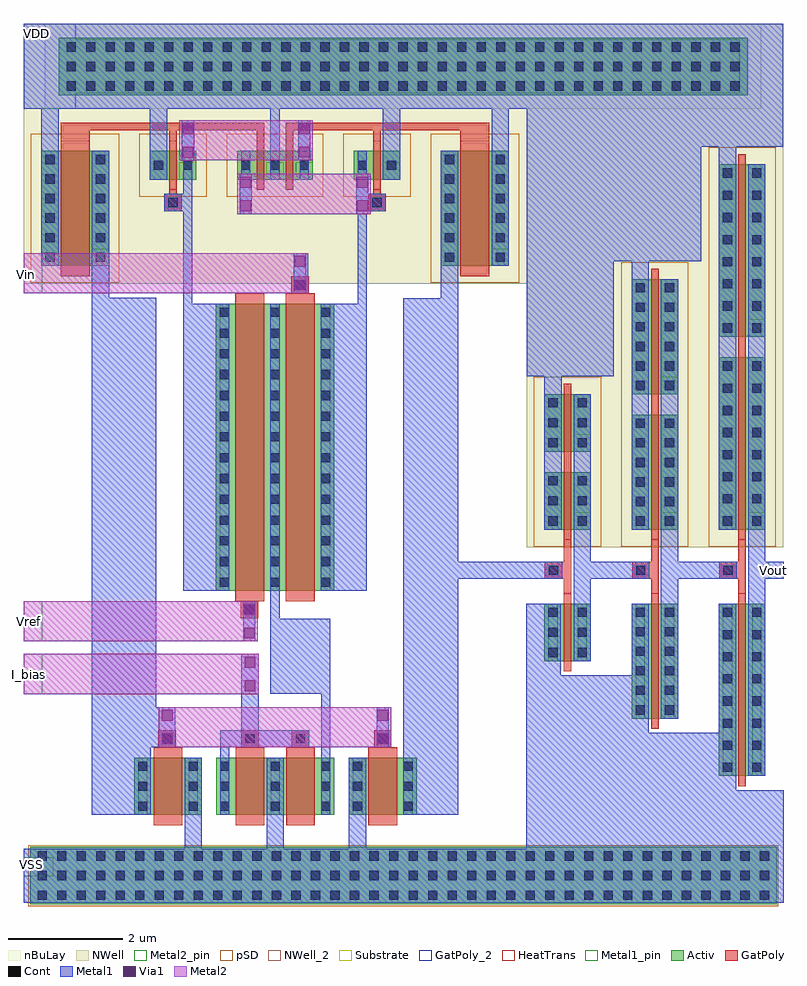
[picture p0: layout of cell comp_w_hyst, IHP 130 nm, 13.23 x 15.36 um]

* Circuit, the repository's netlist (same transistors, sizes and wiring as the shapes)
** sch_path: /home/designer/shared/designs/SSDOR_1.2V_v3/components/comp_w_hyst/comp_w_hyst.sch
.subckt comp_w_hyst VDD VSS Vref Vin Vout I_bias
*.PININFO I_bias:I Vref:I Vin:I VSS:B VDD:B Vout:O
MM3 net1 net1 VDD well sg13_lv_pmos w=0.5u l=0.13u ng=1 m=1
MM6 net2 net1 VDD well sg13_lv_pmos w=0.5u l=0.13u ng=1 m=1
MM7 net1 net2 VDD well sg13_lv_pmos w=0.5u l=0.13u ng=1 m=1
MM4 net2 net2 VDD well sg13_lv_pmos w=0.5u l=0.13u ng=1 m=1
MM1 net1 Vref net5 VSS sg13_lv_nmos w=5u l=0.5u ng=1 m=1
MM2 net2 Vin net5 VSS sg13_lv_nmos w=5u l=0.5u ng=1 m=1
MM5 net5 I_bias VSS VSS sg13_lv_nmos w=1u l=0.5u ng=1 m=1
MM9 net4 net1 VDD well sg13_lv_pmos w=2u l=0.5u ng=1 m=1
MM8 net3 net2 VDD well sg13_lv_pmos w=2u l=0.5u ng=1 m=1
MM11 net3 net4 VSS VSS sg13_lv_nmos w=1u l=0.5u ng=1 m=1
MM10 net4 net4 VSS VSS sg13_lv_nmos w=1u l=0.5u ng=1 m=1
MM12 I_bias I_bias VSS VSS sg13_lv_nmos w=1u l=0.5u ng=1 m=1
MM13 net6 net3 VSS VSS sg13_lv_nmos w=1u l=0.13u ng=1 m=1
MM14 net6 net3 VDD well sg13_lv_pmos w=1u l=0.13u ng=1 m=2
RR1 VDD well ntap1 A=1.2e-11 P=2.6e-05
MM15 net7 net6 VSS VSS sg13_lv_nmos w=2u l=0.13u ng=1 m=1
MM16 net7 net6 VDD well sg13_lv_pmos w=2u l=0.13u ng=1 m=2
MM17 Vout net7 VSS VSS sg13_lv_nmos w=3u l=0.13u ng=1 m=1
MM18 Vout net7 VDD well sg13_lv_pmos w=3u l=0.13u ng=1 m=2
.ends

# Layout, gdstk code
import gdstk
lib = gdstk.Library(unit=1e-6, precision=5e-09)
def R(c, l, rs):  # rectangles x0, y0, x1, y1
    for r in rs: c.add(gdstk.rectangle(r[:2], r[2:], *l))
def A(c, l, x, y, w, h, nx, ny, dx, dy):  # array of equal rectangles
    R(c, l, [(x+i*dx, y+j*dy, x+i*dx+w, y+j*dy+h) for i in range(nx) for j in range(ny)])
def P(c, l, *ps):  # polygons
    for p in ps: c.add(gdstk.Polygon(p, *l))
Activ = (1, 0)
GatPoly = (5, 0)
GatPoly_2 = (5, 2)
Cont = (6, 0)
Metal1 = (8, 0)
Metal1_pin = (8, 2)
Metal2 = (10, 0)
Metal2_pin = (10, 2)
pSD = (14, 0)
Via1 = (19, 0)
NWell = (31, 0)
NWell_2 = (31, 2)
nBuLay = (32, 0)
Substrate = (40, 0)
HeatTrans = (51, 0)

pmos_1 = lib.new_cell('pmos$1')
R(pmos_1, Activ, [(0,0,0.3,0.3), (0,0,0.81,0.5), (0.51,0,0.81,0.3)])
R(pmos_1, GatPoly, [(0.34,-0.18,0.47,0.68), (0.34,-0.18,0.47,0.68)])
R(pmos_1, Cont, [(0.07,0.17,0.23,0.33), (0.58,0.17,0.74,0.33)])
R(pmos_1, Metal1, [(0.07,0,0.23,0.5), (0.07,0,0.23,0.5), (0.58,0,0.74,0.5), (0.58,0,0.74,0.5)])
R(pmos_1, pSD, [(-0.18,-0.3,0.99,0.8)])
R(pmos_1, NWell, [(-0.31,-0.31,1.12,0.81)])
R(pmos_1, Substrate, [(0.51,0,0.81,0.3)])
R(pmos_1, HeatTrans, [(0.34,-0.18,0.47,0.68)])
pmos_1.add(gdstk.Label('pmos', (0.405,0.25), layer=63, texttype=0))
pmos_1.add(gdstk.Label('pmos', (0.405,0.25), layer=51, texttype=0))

pmos_3 = lib.new_cell('pmos$3')
R(pmos_3, Activ, [(0,0,0.3,0.3), (0,0,1.18,2), (0.88,0,1.18,0.3)])
R(pmos_3, GatPoly, [(0.34,-0.18,0.84,2.18), (0.34,-0.18,0.84,2.18)])
A(pmos_3, Cont, 0.07, 0.07, 0.16, 0.16, 1, 6, 0, 0.34)
A(pmos_3, Cont, 0.95, 0.07, 0.16, 0.16, 1, 6, 0, 0.34)
R(pmos_3, Metal1, [(0.07,0,0.23,2), (0.07,0,0.23,2), (0.95,0,1.11,2), (0.95,0,1.11,2)])
R(pmos_3, pSD, [(-0.18,-0.3,1.36,2.3)])
R(pmos_3, NWell, [(-0.31,-0.31,1.49,2.31)])
R(pmos_3, Substrate, [(0.88,0,1.18,0.3)])
R(pmos_3, HeatTrans, [(0.34,-0.18,0.84,2.18)])
pmos_3.add(gdstk.Label('pmos', (0.59,1), layer=63, texttype=0))
pmos_3.add(gdstk.Label('pmos', (0.59,1), layer=51, texttype=0))

via_stack = lib.new_cell('via_stack')
R(via_stack, Metal1, [(-0.105,-0.35,0.105,0.35)])
R(via_stack, Metal2, [(-0.1,-0.35,0.1,0.35)])
R(via_stack, Via1, [(-0.095,-0.3,0.095,-0.11), (-0.095,0.11,0.095,0.3)])

ntap1_1 = lib.new_cell('ntap1$1')
R(ntap1_1, Activ, [(0,0,12,1)])
A(ntap1_1, Cont, 0.14, 0.08, 0.16, 0.16, 35, 3, 0.34, 0.34)
R(ntap1_1, Metal1, [(0.14,0.03,11.86,0.97)])
R(ntap1_1, Metal1_pin, [(0.14,0.03,11.86,0.97), (0.14,0.08,11.86,0.92)])
R(ntap1_1, NWell, [(-0.24,-0.24,12.24,1.24), (0,0,12,1)])
R(ntap1_1, NWell_2, [(0,0,12,1)])
R(ntap1_1, nBuLay, [(-0.24,-0.24,12.24,1.24)])
ntap1_1.add(gdstk.Label('well', (6,0.01), layer=31, texttype=0))
ntap1_1.add(gdstk.Label('well', (6,0.01), layer=63, texttype=0))

nmos_5 = lib.new_cell('nmos$5')
R(nmos_5, Activ, [(0,0,0.3,0.3), (0,0,0.81,1), (0.51,0,0.81,0.3)])
R(nmos_5, GatPoly, [(0.34,-0.18,0.47,1.18)])
R(nmos_5, GatPoly_2, [(0.34,-0.18,0.47,1.18)])
A(nmos_5, Cont, 0.07, 0.07, 0.16, 0.16, 1, 3, 0, 0.35)
A(nmos_5, Cont, 0.58, 0.07, 0.16, 0.16, 1, 3, 0, 0.35)
R(nmos_5, Metal1, [(0.07,0,0.23,1), (0.58,0,0.74,1)])
R(nmos_5, Metal1_pin, [(0.07,0,0.23,1), (0.58,0,0.74,1)])
R(nmos_5, HeatTrans, [(0.34,-0.18,0.47,1.18)])
nmos_5.add(gdstk.Label('nmos', (0.405,0.5), layer=63, texttype=0))
nmos_5.add(gdstk.Label('nmos', (0.405,0.5), layer=51, texttype=0))

nmos_4 = lib.new_cell('nmos$4')
R(nmos_4, Activ, [(0,0,0.3,0.3), (0,0,0.81,2), (0.51,0,0.81,0.3)])
R(nmos_4, GatPoly, [(0.34,-0.18,0.47,2.18)])
R(nmos_4, GatPoly_2, [(0.34,-0.18,0.47,2.18)])
A(nmos_4, Cont, 0.07, 0.07, 0.16, 0.16, 1, 6, 0, 0.34)
A(nmos_4, Cont, 0.58, 0.07, 0.16, 0.16, 1, 6, 0, 0.34)
R(nmos_4, Metal1, [(0.07,0,0.23,2), (0.58,0,0.74,2)])
R(nmos_4, Metal1_pin, [(0.07,0,0.23,2), (0.58,0,0.74,2)])
R(nmos_4, HeatTrans, [(0.34,-0.18,0.47,2.18)])
nmos_4.add(gdstk.Label('nmos', (0.405,1), layer=63, texttype=0))
nmos_4.add(gdstk.Label('nmos', (0.405,1), layer=51, texttype=0))

nmos_2 = lib.new_cell('nmos$2')
R(nmos_2, Activ, [(0,0,0.3,0.3), (0,0,1.18,1), (0.88,0,1.18,0.3)])
R(nmos_2, GatPoly, [(0.34,-0.18,0.84,1.18)])
R(nmos_2, GatPoly_2, [(0.34,-0.18,0.84,1.18)])
A(nmos_2, Cont, 0.07, 0.07, 0.16, 0.16, 1, 3, 0, 0.35)
A(nmos_2, Cont, 0.95, 0.07, 0.16, 0.16, 1, 3, 0, 0.35)
R(nmos_2, Metal1, [(0.07,0,0.23,1), (0.95,0,1.11,1)])
R(nmos_2, Metal1_pin, [(0.07,0,0.23,1), (0.95,0,1.11,1)])
R(nmos_2, HeatTrans, [(0.34,-0.18,0.84,1.18)])
nmos_2.add(gdstk.Label('nmos', (0.59,0.5), layer=63, texttype=0))
nmos_2.add(gdstk.Label('nmos', (0.59,0.5), layer=51, texttype=0))

nmos_3 = lib.new_cell('nmos$3')
R(nmos_3, Activ, [(0,0,0.3,0.3), (0,0,0.81,3), (0.51,0,0.81,0.3)])
R(nmos_3, GatPoly, [(0.34,-0.18,0.47,3.18)])
R(nmos_3, GatPoly_2, [(0.34,-0.18,0.47,3.18)])
A(nmos_3, Cont, 0.07, 0.07, 0.16, 0.16, 1, 7, 0, 0.385)
A(nmos_3, Cont, 0.58, 0.07, 0.16, 0.16, 1, 7, 0, 0.385)
R(nmos_3, Cont, [(0.07,2.77,0.23,2.93), (0.58,2.77,0.74,2.93)])
R(nmos_3, Metal1, [(0.07,0,0.23,3), (0.58,0,0.74,3)])
R(nmos_3, Metal1_pin, [(0.07,0,0.23,3), (0.58,0,0.74,3)])
R(nmos_3, HeatTrans, [(0.34,-0.18,0.47,3.18)])
nmos_3.add(gdstk.Label('nmos', (0.405,1.5), layer=63, texttype=0))
nmos_3.add(gdstk.Label('nmos', (0.405,1.5), layer=51, texttype=0))

nmos_1 = lib.new_cell('nmos$1')
R(nmos_1, Activ, [(0,0,0.3,0.3), (0,0,1.18,5), (0.88,0,1.18,0.3)])
R(nmos_1, GatPoly, [(0.34,-0.18,0.84,5.18)])
R(nmos_1, GatPoly_2, [(0.34,-0.18,0.84,5.18)])
A(nmos_1, Cont, 0.07, 0.07, 0.16, 0.16, 1, 4, 0, 0.36)
A(nmos_1, Cont, 0.95, 0.07, 0.16, 0.16, 1, 4, 0, 0.36)
A(nmos_1, Cont, 0.07, 1.515, 0.16, 0.16, 1, 3, 0, 0.36)
A(nmos_1, Cont, 0.95, 1.515, 0.16, 0.16, 1, 3, 0, 0.36)
A(nmos_1, Cont, 0.07, 2.6, 0.16, 0.16, 1, 3, 0, 0.36)
A(nmos_1, Cont, 0.95, 2.6, 0.16, 0.16, 1, 3, 0, 0.36)
A(nmos_1, Cont, 0.07, 3.685, 0.16, 0.16, 1, 3, 0, 0.36)
A(nmos_1, Cont, 0.95, 3.685, 0.16, 0.16, 1, 3, 0, 0.36)
R(nmos_1, Cont, [(0.07,4.77,0.23,4.93), (0.95,4.77,1.11,4.93)])
R(nmos_1, Metal1, [(0.07,0,0.23,5), (0.95,0,1.11,5)])
R(nmos_1, Metal1_pin, [(0.07,0,0.23,5), (0.95,0,1.11,5)])
R(nmos_1, HeatTrans, [(0.34,-0.18,0.84,5.18)])
nmos_1.add(gdstk.Label('nmos', (0.59,2.5), layer=63, texttype=0))
nmos_1.add(gdstk.Label('nmos', (0.59,2.5), layer=51, texttype=0))

pmos_7 = lib.new_cell('pmos$7')
R(pmos_7, Activ, [(0,0,0.3,0.3), (0,0,0.81,1), (0.51,0,0.81,0.3)])
R(pmos_7, GatPoly, [(0.34,-0.18,0.47,1.18), (0.34,-0.18,0.47,1.18)])
A(pmos_7, Cont, 0.07, 0.07, 0.16, 0.16, 1, 3, 0, 0.35)
A(pmos_7, Cont, 0.58, 0.07, 0.16, 0.16, 1, 3, 0, 0.35)
R(pmos_7, Metal1, [(0.07,0,0.23,1), (0.07,0,0.23,1), (0.58,0,0.74,1), (0.58,0,0.74,1)])
R(pmos_7, pSD, [(-0.18,-0.3,0.99,1.3)])
R(pmos_7, NWell, [(-0.31,-0.31,1.12,1.31)])
R(pmos_7, Substrate, [(0.51,0,0.81,0.3)])
R(pmos_7, HeatTrans, [(0.34,-0.18,0.47,1.18)])
pmos_7.add(gdstk.Label('pmos', (0.405,0.5), layer=63, texttype=0))
pmos_7.add(gdstk.Label('pmos', (0.405,0.5), layer=51, texttype=0))

pmos_2 = lib.new_cell('pmos$2')
R(pmos_2, Activ, [(0,0,0.3,0.3), (0,0,0.81,2), (0.51,0,0.81,0.3)])
R(pmos_2, GatPoly, [(0.34,-0.18,0.47,2.18), (0.34,-0.18,0.47,2.18)])
A(pmos_2, Cont, 0.07, 0.07, 0.16, 0.16, 1, 6, 0, 0.34)
A(pmos_2, Cont, 0.58, 0.07, 0.16, 0.16, 1, 6, 0, 0.34)
R(pmos_2, Metal1, [(0.07,0,0.23,2), (0.07,0,0.23,2), (0.58,0,0.74,2), (0.58,0,0.74,2)])
R(pmos_2, pSD, [(-0.18,-0.3,0.99,2.3)])
R(pmos_2, NWell, [(-0.31,-0.31,1.12,2.31)])
R(pmos_2, Substrate, [(0.51,0,0.81,0.3)])
R(pmos_2, HeatTrans, [(0.34,-0.18,0.47,2.18)])
pmos_2.add(gdstk.Label('pmos', (0.405,1), layer=63, texttype=0))
pmos_2.add(gdstk.Label('pmos', (0.405,1), layer=51, texttype=0))

pmos_4 = lib.new_cell('pmos$4')
R(pmos_4, Activ, [(0,0,0.3,0.3), (0,0,0.81,3), (0.51,0,0.81,0.3)])
R(pmos_4, GatPoly, [(0.34,-0.18,0.47,3.18), (0.34,-0.18,0.47,3.18)])
A(pmos_4, Cont, 0.07, 0.07, 0.16, 0.16, 1, 7, 0, 0.385)
A(pmos_4, Cont, 0.58, 0.07, 0.16, 0.16, 1, 7, 0, 0.385)
R(pmos_4, Cont, [(0.07,2.77,0.23,2.93), (0.58,2.77,0.74,2.93)])
R(pmos_4, Metal1, [(0.07,0,0.23,3), (0.07,0,0.23,3), (0.58,0,0.74,3), (0.58,0,0.74,3)])
R(pmos_4, pSD, [(-0.18,-0.3,0.99,3.3)])
R(pmos_4, NWell, [(-0.31,-0.31,1.12,3.31)])
R(pmos_4, Substrate, [(0.51,0,0.81,0.3)])
R(pmos_4, HeatTrans, [(0.34,-0.18,0.47,3.18)])
pmos_4.add(gdstk.Label('pmos', (0.405,1.5), layer=63, texttype=0))
pmos_4.add(gdstk.Label('pmos', (0.405,1.5), layer=51, texttype=0))

comp_w_hyst = lib.new_cell('comp_w_hyst')
R(comp_w_hyst, Activ, [(-4.465,-10.795,8.535,-9.795)])
A(comp_w_hyst, GatPoly, 4.5, -5.13, 0.46, 0.3, 3, 1, 1.52, 0)
R(comp_w_hyst, GatPoly, [(7.87,-8.74,8,2.27), (-2.23,-8.06,-1.93,-7.76), (-0.785,-8.06,-0.485,-7.76), (0.095,-8.06,0.395,-7.76), (1.525,-8.06,1.825,-7.76), (6.35,-7.74,6.48,0.27), (4.83,-6.74,4.96,-1.73), (-0.795,-5.815,-0.495,-5.515), (0.085,-0.155,0.385,0.145), (-2.125,1.275,-1.825,1.575), (1.425,1.275,1.725,1.575)])
P(comp_w_hyst, GatPoly, [(-2.04,1.275),(-2.04,2.815),(-0.39,2.815),(-0.39,1.645),(-0.52,1.645),(-0.52,2.685),(-1.91,2.685),(-1.91,1.275)],
  [(1.51,1.275),(1.51,2.685),(0.12,2.685),(0.12,1.645),(-0.01,1.645),(-0.01,2.815),(1.64,2.815),(1.64,1.275)],
  [(-3.93,0.145),(-3.93,2.815),(-0.39,2.815),(-0.39,2.685),(-3.43,2.685),(-3.43,0.145)],
  [(3.03,0.145),(3.03,2.685),(-0.01,2.685),(-0.01,2.815),(3.53,2.815),(3.53,0.145)])
A(comp_w_hyst, Cont, -4.335, -10.715, 0.16, 0.16, 38, 3, 0.34, 0.34)
A(comp_w_hyst, Cont, 4.57, -5.06, 0.16, 0.16, 3, 1, 1.52, 0)
R(comp_w_hyst, Cont, [(-2.16,-7.99,-2,-7.83), (-0.715,-7.99,-0.555,-7.83), (0.165,-7.99,0.325,-7.83), (1.595,-7.99,1.755,-7.83), (-0.725,-5.745,-0.565,-5.585), (0.155,-0.085,0.315,0.075), (-2.055,1.345,-1.895,1.505), (1.495,1.345,1.655,1.505)])
A(comp_w_hyst, Metal1, -1.775, -10.035, 0.3, 1.795, 3, 1, 1.43, 0)
R(comp_w_hyst, Metal1, [(-4.575,-10.765,8.405,-9.825), (6.01,-10.035,6.31,-5.56), (7.53,-10.035,7.83,-5.56), (-0.785,-8.06,-0.485,-6.435), (2.035,-5.13,4.8,-4.83), (4.49,-4.27,4.79,3.27), (6.01,-4.27,6.31,3.315), (7.53,-4.27,7.83,3.325), (-4.27,0.325,-3.97,3.295), (3.57,0.325,3.87,3.295), (-0.79,1.225,-0.63,2.325), (-2.38,1.825,-2.08,3.295), (-0.28,1.825,-0.12,3.295), (0.23,1.825,0.39,2.86), (1.68,1.825,1.98,3.295), (-4.58,3.055,8.65,4.535)])
P(comp_w_hyst, Metal1, [(4.175,-10.765),(4.175,-5.56),(4.78,-5.56),(4.78,-6.81),(6.31,-6.81),(6.31,-7.81),(7.83,-7.81),(7.83,-8.81),(8.655,-8.81),(8.655,-10.765)],
  [(4.18,-1.6),(4.18,4.535),(8.65,4.535),(8.65,2.4),(7.22,2.4),(7.22,0.4),(5.7,0.4),(5.7,-1.6)],
  [(5,-6.56),(5,-1.91),(5.3,-1.91),(5.3,-4.83),(6.32,-4.83),(6.32,-5.13),(5.3,-5.13),(5.3,-6.56)],
  [(6.52,-7.56),(6.52,0.09),(6.82,0.09),(6.82,-4.83),(7.84,-4.83),(7.84,-5.13),(6.82,-5.13),(6.82,-7.56)],
  [(8.04,-8.56),(8.04,2.09),(8.34,2.09),(8.34,-4.83),(8.655,-4.83),(8.655,-5.13),(8.34,-5.13),(8.34,-8.56)],
  [(-1.8,-5.335),(-1.8,1.275),(-2.125,1.275),(-2.125,1.575),(-1.8,1.575),(-1.8,2.855),(-1.64,2.855),(-1.64,-0.335),(-1,-0.335),(-1,-5.335)],
  [(0.605,-9.24),(0.605,-7.13),(-0.28,-7.13),(-0.28,-0.335),(-0.12,-0.335),(-0.12,-5.825),(0.765,-5.825),(0.765,-9.24)],
  [(2.035,-9.24),(2.035,-0.24),(2.69,-0.24),(2.69,2.325),(2.99,2.325),(2.99,-9.24)],
  [(0.6,-5.335),(0.6,-0.335),(1.24,-0.335),(1.24,2.325),(1.4,2.325),(1.4,1.575),(1.725,1.575),(1.725,1.275),(1.4,1.275),(1.4,-5.335)],
  [(-3.39,-9.24),(-3.39,2.325),(-3.09,2.325),(-3.09,-0.235),(-2.27,-0.235),(-2.27,-7.36),(-1.94,-7.36),(-1.94,-8.06),(-2.36,-8.06),(-2.36,-9.24)],
  [(-1.155,-9.24),(-1.155,-7.76),(0.395,-7.76),(0.395,-8.06),(-0.995,-8.06),(-0.995,-9.24)])
R(comp_w_hyst, Metal1_pin, [(-4.575,-10.305,-4.065,-9.98), (8.39,-5.13,8.655,-4.83), (-4.58,3.055,-3.67,4.535)])
R(comp_w_hyst, Metal2, [(-2.225,-8.06,1.82,-7.36), (-4.575,-7.135,-0.485,-6.435), (-4.575,-6.215,-0.5,-5.515), (-4.58,-0.155,0.38,0.545), (-0.855,1.225,1.465,1.925), (-1.865,2.16,0.455,2.86)])
R(comp_w_hyst, Metal2_pin, [(-4.575,-7.135,-4.25,-6.435), (-4.575,-6.215,-4.25,-5.515), (-4.58,-0.155,-4.255,0.545)])
R(comp_w_hyst, pSD, [(-4.495,-10.825,8.565,-9.765)])
R(comp_w_hyst, NWell, [(4.18,-4.58,8.65,4.535), (-4.58,0.015,4.18,4.535)])
comp_w_hyst.add(gdstk.Reference(pmos_1, (-2.38,1.825)))
comp_w_hyst.add(gdstk.Reference(pmos_1, (-0.86,1.825)))
comp_w_hyst.add(gdstk.Reference(pmos_1, (-0.35,1.825)))
comp_w_hyst.add(gdstk.Reference(pmos_1, (1.17,1.825)))
comp_w_hyst.add(gdstk.Reference(pmos_3, (-4.27,0.325)))
comp_w_hyst.add(gdstk.Reference(pmos_3, (2.69,0.325)))
comp_w_hyst.add(gdstk.Reference(via_stack, (-1.715,2.505)))
comp_w_hyst.add(gdstk.Reference(via_stack, (0.31,2.51)))
comp_w_hyst.add(gdstk.Reference(via_stack, (-0.71,1.575)))
comp_w_hyst.add(gdstk.Reference(via_stack, (1.32,1.575)))
comp_w_hyst.add(gdstk.Reference(ntap1_1, (-3.97,3.295)))
comp_w_hyst.add(gdstk.Reference(via_stack, (-0.645,-5.865)))
comp_w_hyst.add(gdstk.Reference(via_stack, (0.235,0.195)))
comp_w_hyst.add(gdstk.Reference(nmos_5, (4.49,-6.56)))
comp_w_hyst.add(gdstk.Reference(nmos_4, (6.01,-7.56)))
comp_w_hyst.add(gdstk.Reference(via_stack, (1.675,-7.71)))
comp_w_hyst.add(gdstk.Reference(via_stack, (-2.08,-7.71)))
comp_w_hyst.add(gdstk.Reference(nmos_2, (-0.345,-9.24)))
comp_w_hyst.add(gdstk.Reference(nmos_2, (1.085,-9.24)))
comp_w_hyst.add(gdstk.Reference(nmos_3, (7.53,-8.56)))
comp_w_hyst.add(gdstk.Reference(nmos_2, (-1.225,-9.24)))
comp_w_hyst.add(gdstk.Reference(nmos_2, (-2.655,-9.24)))
comp_w_hyst.add(gdstk.Reference(nmos_1, (-0.35,-5.335)))
comp_w_hyst.add(gdstk.Reference(nmos_1, (-1.23,-5.335)))
comp_w_hyst.add(gdstk.Reference(via_stack, (-0.635,-6.785)))
comp_w_hyst.add(gdstk.Reference(pmos_7, (4.49,-4.27)))
comp_w_hyst.add(gdstk.Reference(pmos_7, (4.49,-2.91)))
comp_w_hyst.add(gdstk.Reference(pmos_2, (6.01,-4.27)))
comp_w_hyst.add(gdstk.Reference(pmos_2, (6.01,-1.91)))
comp_w_hyst.add(gdstk.Reference(pmos_4, (7.53,-4.27)))
comp_w_hyst.add(gdstk.Reference(pmos_4, (7.53,-0.91)))
comp_w_hyst.add(gdstk.Label('Vout', (8.475,-4.985), layer=8, texttype=25))
comp_w_hyst.add(gdstk.Label('VSS', (-4.44,-10.105), layer=8, texttype=25))
comp_w_hyst.add(gdstk.Label('VDD', (-4.35,4.375), layer=8, texttype=25))
comp_w_hyst.add(gdstk.Label('Vref', (-4.495,-5.87), layer=10, texttype=25))
comp_w_hyst.add(gdstk.Label('Vin', (-4.53,0.175), layer=10, texttype=25))
comp_w_hyst.add(gdstk.Label('I_bias', (-4.495,-6.79), layer=10, texttype=25))

lib.write_gds('comp_w_hyst.gds')
